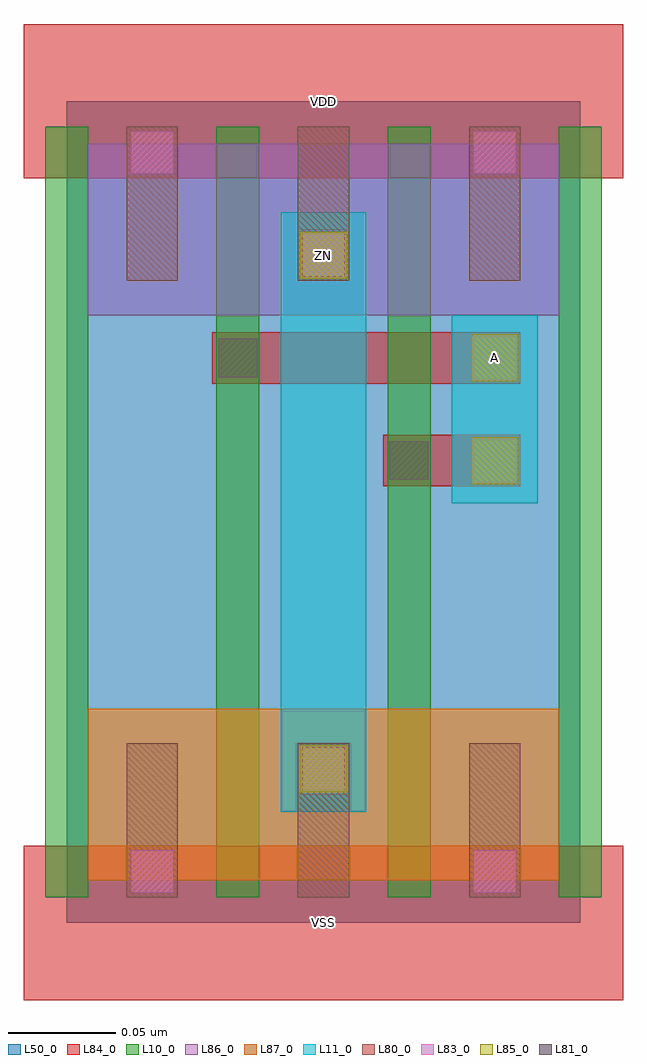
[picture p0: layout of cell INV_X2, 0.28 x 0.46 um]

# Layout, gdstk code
import gdstk
lib = gdstk.Library(unit=1e-6, precision=1e-09)
def R(c, l, rs):  # rectangles x0, y0, x1, y1
    for r in rs: c.add(gdstk.rectangle(r[:2], r[2:], *l))
def A(c, l, x, y, w, h, nx, ny, dx, dy):  # array of equal rectangles
    R(c, l, [(x+i*dx, y+j*dy, x+i*dx+w, y+j*dy+h) for i in range(nx) for j in range(ny)])
L10_0 = (10, 0)
L11_0 = (11, 0)
L50_0 = (50, 0)
L80_0 = (80, 0)
L81_0 = (81, 0)
L83_0 = (83, 0)
L84_0 = (84, 0)
L85_0 = (85, 0)
L86_0 = (86, 0)
L87_0 = (87, 0)

inv_x2 = lib.new_cell('INV_X2')
A(inv_x2, L10_0, -0.01, 0.012, 0.02, 0.36, 4, 1, 0.08, 0)
R(inv_x2, L11_0, [(0.1,0.052,0.14,0.332), (0.18,0.196,0.22,0.284)])
R(inv_x2, L50_0, [(0,0,0.24,0.384)])
A(inv_x2, L80_0, 0.028, 0.012, 0.024, 0.072, 3, 2, 0.08, 0.288)
R(inv_x2, L81_0, [(0.151,0.207,0.169,0.225), (0.071,0.255,0.089,0.273)])
R(inv_x2, L83_0, [(0.03,0.014,0.05,0.034), (0.19,0.014,0.21,0.034), (0.11,0.062,0.13,0.082), (0.11,0.302,0.13,0.322), (0.03,0.35,0.05,0.37), (0.19,0.35,0.21,0.37)])
R(inv_x2, L84_0, [(-0.02,-0.036,0.26,0.036), (0.108,0.06,0.132,0.084), (0.148,0.204,0.212,0.228), (0.068,0.252,0.212,0.276), (0.108,0.3,0.132,0.324), (-0.02,0.348,0.26,0.42)])
R(inv_x2, L85_0, [(0.109,0.061,0.131,0.083), (0.189,0.205,0.211,0.227), (0.189,0.253,0.211,0.275), (0.109,0.301,0.131,0.323)])
R(inv_x2, L86_0, [(0.01,0.284,0.23,0.364)])
R(inv_x2, L87_0, [(0.01,0.02,0.23,0.1)])
inv_x2.add(gdstk.Label('VDD', (0.12,0.384), layer=88, texttype=0))
inv_x2.add(gdstk.Label('VSS', (0.12,0), layer=88, texttype=0))
inv_x2.add(gdstk.Label('ZN', (0.12,0.312), layer=31, texttype=0))
inv_x2.add(gdstk.Label('A', (0.2,0.264), layer=31, texttype=0))

lib.write_gds('INV_X2.gds')
